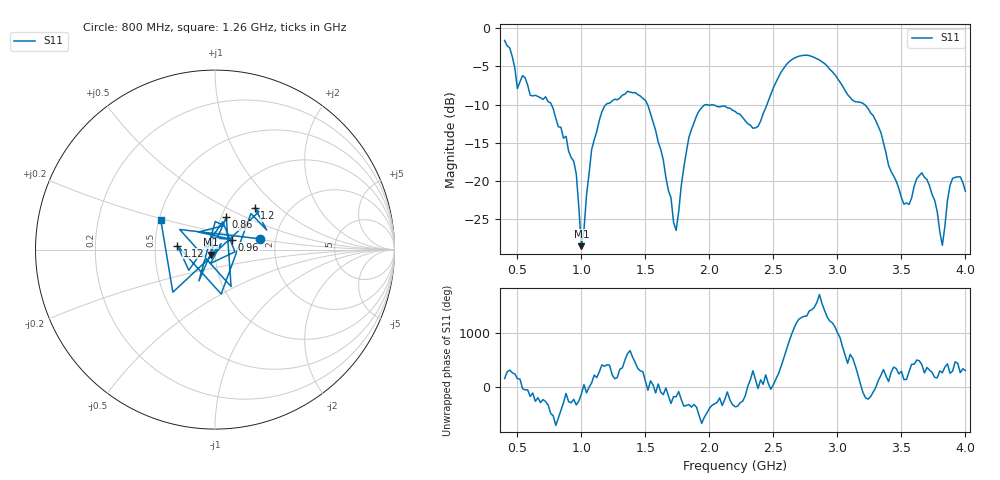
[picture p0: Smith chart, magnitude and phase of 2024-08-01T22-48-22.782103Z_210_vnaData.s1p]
!Created with skrf (http://scikit-rf.org).
# Hz S RI R 50.0
!freq ReS11 ImS11
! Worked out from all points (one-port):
!   181 points, 400 MHz to 4 GHz, reference 50 ohm
!   lowest |S11| = -28.5 dB at 1 GHz (marker M1), VSWR 1.08, Z = 47.6 - j2.78 ohm
!   |S11| at or under -10 dB: 1.517 GHz to 1.978 GHz (461.1 MHz wide, 26.4 % of centre); 1.981 GHz to 2.45 GHz (468.5 MHz wide, 21.1 % of centre); 3.212 GHz to end of sweep (the widest 3 of 4)
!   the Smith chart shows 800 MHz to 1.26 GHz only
!   S11 on the Smith chart (normalised r, x): 800 MHz: 1.65, +0.21; 860 MHz: 1.06, +0.40; 960 MHz: 1.20, +0.14; 1.12 GHz: 0.65, +0.03; 1.2 GHz: 1.36, +0.70; 1.26 GHz: 0.51, +0.19
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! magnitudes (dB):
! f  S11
! 400 MHz  -1.6
! 500 MHz  -7.9
! 540 MHz  -6.2
! 800 MHz  -11.8
! 860 MHz  -14.4
! 960 MHz  -19.1
! 1 GHz  -28.5
! 1.08 GHz  -15.9
! 1.12 GHz  -13.5
! 1.2 GHz  -9.9
! 1.26 GHz  -9.3
! 1.3 GHz  -9.1
! 1.52 GHz  -10.1
! 1.72 GHz  -25.4
! 1.76 GHz  -24.0
! 1.84 GHz  -14.3
! 1.92 GHz  -10.8
! 2.2 GHz  -10.9
! 2.38 GHz  -12.8
! 2.66 GHz  -3.9
! 3.1 GHz  -9.1
! 3.28 GHz  -11.5
! 3.56 GHz  -23.1
! 3.66 GHz  -18.9
! 3.76 GHz  -22.5
! 3.82 GHz  -28.4
! 3.9 GHz  -19.7
! 4 GHz  -21.3
